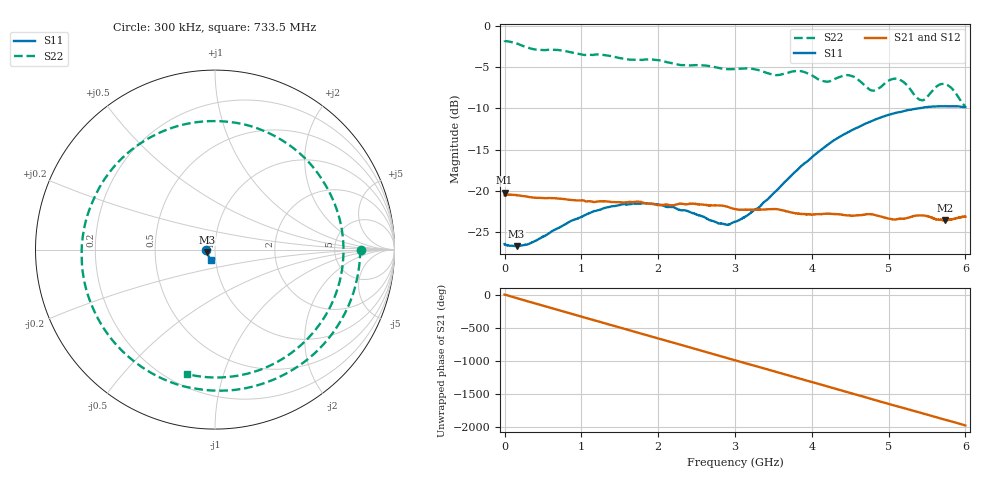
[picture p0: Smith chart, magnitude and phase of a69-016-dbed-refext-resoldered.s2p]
!  3/19/2021  22:17:50
! Ref Plane: 13.200 mm
# MHZ S MA R  50
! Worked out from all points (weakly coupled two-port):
!   10001 points, 300 kHz to 6 GHz, reference 50 ohm
!   highest |S21| = -20.22 dB at 300 kHz (marker M1); lowest = -23.5 dB at 5.734 GHz (marker M2)
!   lowest |S11| = -26.7 dB at 156.3 MHz (marker M3), VSWR 1.10, Z = 45.8 - j1.26 ohm
!   |S11| at or under -10 dB: start of sweep to 5.379 GHz; 5.379538 GHz to 5.379747 GHz (209.7 kHz wide, 0.0039 % of centre); 5.380715 GHz to 5.380924 GHz (209.7 kHz wide, 0.0039 % of centre)
!   |S22| runs from -9.8 to -1.8 dB; largest |S21 - S12| = 0.0023
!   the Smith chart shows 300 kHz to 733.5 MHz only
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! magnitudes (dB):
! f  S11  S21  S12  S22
! 300 kHz  -26.4  -20.2  -20.4  -1.8
! 156.3 MHz  -26.7  -20.5  -20.5  -2.1
! 339.3 MHz  -26.3  -20.8  -20.8  -2.7
! 1 GHz  -23.1  -21.1  -21.1  -3.5
! 1.535 GHz  -21.6  -21.4  -21.4  -4.0
! 2.001 GHz  -21.6  -21.7  -21.7  -4.2
! 2.79 GHz  -23.9  -21.8  -21.8  -5.1
! 3 GHz  -23.7  -22.2  -22.2  -5.2
! 3.316 GHz  -21.9  -22.3  -22.3  -5.4
! 3.528 GHz  -20.1  -22.2  -22.2  -6.0
! 3.823 GHz  -17.4  -22.7  -22.7  -5.5
! 4 GHz  -15.9  -22.9  -22.8  -6.0
! 4.193 GHz  -14.5  -22.7  -22.7  -6.8
! 4.505 GHz  -12.7  -23.0  -23.0  -6.0
! 4.792 GHz  -11.5  -22.8  -22.8  -7.9
! 5 GHz  -10.8  -23.4  -23.4  -6.6
! 5.161 GHz  -10.4  -23.4  -23.4  -6.6
! 5.431 GHz  -9.9  -23.0  -22.9  -9.0
! 5.64 GHz  -9.7  -23.5  -23.5  -7.2
! 5.734 GHz  -9.7  -23.5  -23.5  -7.1
! 5.828 GHz  -9.7  -23.4  -23.4  -7.6
! 6 GHz  -9.9  -23.1  -23.1  -9.8
